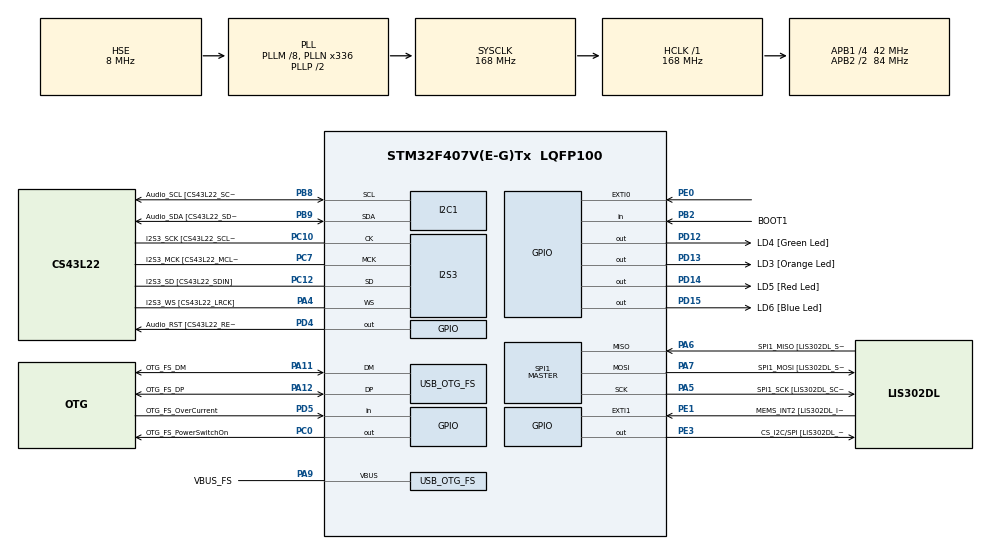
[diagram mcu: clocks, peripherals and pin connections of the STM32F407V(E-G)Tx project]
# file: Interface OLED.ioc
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I2C1.I2C_Mode=I2C_Fast
I2S3.AudioFreq-Half_Duplex_Master=I2S_AUDIOFREQ_96K
I2S3.ErrorAudioFreq=-2.34 %
I2S3.ErrorAudioFreq-Half_Duplex_Master=0.8 %
I2S3.FullDuplexMode=I2S_FULLDUPLEXMODE_DISABLE
I2S3.Instance=SPI$Index
I2S3.RealAudioFreq=93.75 KHz
I2S3.RealAudioFreq-Half_Duplex_Master=96.774 KHz
I2S3.VirtualMode=I2S_MODE_MASTER
Mcu.Family=STM32F4
Mcu.Name=STM32F407V(E-G)Tx
Mcu.Package=LQFP100
NVIC.OTG_FS_IRQn=true\:0\:0\:false\:false\:true\:true\:true\:true
NVIC.PriorityGroup=NVIC_PRIORITYGROUP_0
PA10.GPIO_Label=OTG_FS_ID
PA10.GPIO_Mode=GPIO_MODE_AF_PP
PA10.GPIO_PuPd=GPIO_NOPULL
PA10.GPIO_Speed=GPIO_SPEED_FREQ_LOW
PA10.Signal=USB_OTG_FS_ID
PA11.GPIO_Label=OTG_FS_DM
PA11.GPIO_Mode=GPIO_MODE_AF_PP
PA11.GPIO_PuPd=GPIO_NOPULL
PA11.GPIO_Speed=GPIO_SPEED_FREQ_LOW
PA11.Mode=Host_Only
PA11.Signal=USB_OTG_FS_DM
PA12.GPIO_Label=OTG_FS_DP
PA12.GPIO_Mode=GPIO_MODE_AF_PP
PA12.GPIO_PuPd=GPIO_NOPULL
PA12.GPIO_Speed=GPIO_SPEED_FREQ_LOW
PA12.Mode=Host_Only
PA12.Signal=USB_OTG_FS_DP
PA13.GPIO_Label=SWDIO
PA13.Mode=Serial_Wire
PA13.Signal=SYS_JTMS-SWDIO
PA14.GPIO_Label=SWCLK
PA14.Mode=Serial_Wire
PA14.Signal=SYS_JTCK-SWCLK
PA4.GPIO_Label=I2S3_WS [CS43L22_LRCK]
PA4.GPIO_Mode=GPIO_MODE_AF_PP
PA4.GPIO_PuPd=GPIO_NOPULL
PA4.GPIO_Speed=GPIO_SPEED_FREQ_LOW
PA4.Mode=Half_Duplex_Master
PA4.Signal=I2S3_WS
PA5.GPIO_Label=SPI1_SCK [LIS302DL_SCL/SPC]
PA5.GPIO_Mode=GPIO_MODE_AF_PP
PA5.GPIO_PuPd=GPIO_NOPULL
PA5.GPIO_Speed=GPIO_SPEED_FREQ_LOW
PA5.Mode=Full_Duplex_Master
PA5.Signal=SPI1_SCK
PA6.GPIO_Label=SPI1_MISO [LIS302DL_SDO]
PA6.GPIO_Mode=GPIO_MODE_AF_PP
PA6.GPIO_PuPd=GPIO_NOPULL
PA6.GPIO_Speed=GPIO_SPEED_FREQ_LOW
PA6.Mode=Full_Duplex_Master
PA6.Signal=SPI1_MISO
PA7.GPIO_Label=SPI1_MOSI [LIS302DL_SDA/SDI/SDO]
PA7.GPIO_Mode=GPIO_MODE_AF_PP
PA7.GPIO_PuPd=GPIO_NOPULL
PA7.GPIO_Speed=GPIO_SPEED_FREQ_LOW
PA7.Mode=Full_Duplex_Master
PA7.Signal=SPI1_MOSI
PA9.GPIO_Label=VBUS_FS
PA9.GPIO_Mode=GPIO_MODE_INPUT
PA9.GPIO_PuPd=GPIO_NOPULL
PA9.Mode=Activate_VBUS
PA9.Signal=USB_OTG_FS_VBUS
PB10.GPIO_Label=CLK_IN [MP45DT02_CLK]
PB10.GPIO_Mode=GPIO_MODE_AF_PP
PB10.GPIO_PuPd=GPIO_NOPULL
PB10.GPIO_Speed=GPIO_SPEED_FREQ_LOW
PB10.Signal=I2S2_CK
PB2.GPIO_Label=BOOT1
PB2.GPIO_Mode=GPIO_MODE_INPUT
PB2.GPIO_PuPd=GPIO_NOPULL
PB2.Signal=GPIO_Input
PB3.GPIO_Label=SWO
PB3.Signal=SYS_JTDO-SWO
PB8.GPIO_Label=Audio_SCL [CS43L22_SCL]
PB8.GPIO_Mode=GPIO_MODE_AF_OD
PB8.GPIO_Pu=GPIO_PULLUP
PB8.GPIO_Speed=GPIO_SPEED_FREQ_LOW
PB8.Mode=I2C
PB8.Signal=I2C1_SCL
PB9.GPIO_Label=Audio_SDA [CS43L22_SDA]
PB9.GPIO_Mode=GPIO_MODE_AF_OD
PB9.GPIO_Pu=GPIO_PULLUP
PB9.GPIO_PuPd=GPIO_NOPULL
PB9.GPIO_Speed=GPIO_SPEED_FREQ_LOW
PB9.Mode=I2C
PB9.Signal=I2C1_SDA
PC0.GPIO_Label=OTG_FS_PowerSwitchOn
PC0.GPIO_PuPd=GPIO_NOPULL
PC0.GPIO_Speed=GPIO_SPEED_FREQ_LOW
PC0.PinState=GPIO_PIN_SET
PC0.Signal=GPIO_Output
PC10.GPIO_Label=I2S3_SCK [CS43L22_SCLK]
PC10.GPIO_Mode=GPIO_MODE_AF_PP
PC10.GPIO_PuPd=GPIO_NOPULL
PC10.GPIO_Speed=GPIO_SPEED_FREQ_LOW
PC10.Mode=Half_Duplex_Master
PC10.Signal=I2S3_CK
PC12.GPIO_Label=I2S3_SD [CS43L22_SDIN]
PC12.GPIO_Mode=GPIO_MODE_AF_PP
PC12.GPIO_PuPd=GPIO_NOPULL
PC12.GPIO_Speed=GPIO_SPEED_FREQ_LOW
PC12.Mode=Half_Duplex_Master
PC12.Signal=I2S3_SD
PC14-OSC32_IN.GPIO_Label=PC14-OSC32_IN
PC14-OSC32_IN.Mode=LSE-External-Oscillator
PC14-OSC32_IN.Signal=RCC_OSC32_IN
PC15-OSC32_OUT.GPIO_Label=PC15-OSC32_OUT
PC15-OSC32_OUT.Mode=LSE-External-Oscillator
PC15-OSC32_OUT.Signal=RCC_OSC32_OUT
PC3.GPIO_Label=PDM_OUT [MP45DT02_DOUT]
PC3.GPIO_Mode=GPIO_MODE_AF_PP
PC3.GPIO_PuPd=GPIO_NOPULL
PC3.GPIO_Speed=GPIO_SPEED_FREQ_LOW
PC3.Signal=I2S2_SD
PC7.GPIO_Label=I2S3_MCK [CS43L22_MCLK]
PC7.GPIO_Mode=GPIO_MODE_AF_PP
PC7.GPIO_PuPd=GPIO_NOPULL
PC7.GPIO_Speed=GPIO_SPEED_FREQ_LOW
PC7.Mode=Master_Clock_Activated
PC7.Signal=I2S3_MCK
PD12.GPIO_Label=LD4 [Green Led]
PD12.GPIO_PuPd=GPIO_NOPULL
PD12.GPIO_Speed=GPIO_SPEED_FREQ_LOW
PD12.Signal=GPIO_Output
PD13.GPIO_Label=LD3 [Orange Led]
PD13.GPIO_PuPd=GPIO_NOPULL
PD13.GPIO_Speed=GPIO_SPEED_FREQ_LOW
PD13.Signal=GPIO_Output
PD14.GPIO_Label=LD5 [Red Led]
PD14.GPIO_PuPd=GPIO_NOPULL
PD14.GPIO_Speed=GPIO_SPEED_FREQ_LOW
PD14.Signal=GPIO_Output
PD15.GPIO_Label=LD6 [Blue Led]
PD15.GPIO_PuPd=GPIO_NOPULL
PD15.GPIO_Speed=GPIO_SPEED_FREQ_LOW
PD15.Signal=GPIO_Output
PD4.GPIO_Label=Audio_RST [CS43L22_RESET]
PD4.GPIO_PuPd=GPIO_NOPULL
PD4.GPIO_Speed=GPIO_SPEED_FREQ_LOW
PD4.Signal=GPIO_Output
PD5.GPIO_Label=OTG_FS_OverCurrent
PD5.GPIO_Mode=GPIO_MODE_INPUT
PD5.GPIO_PuPd=GPIO_NOPULL
PD5.Signal=GPIO_Input
PE0.Signal=GPXTI0
PE1.GPIO_Label=MEMS_INT2 [LIS302DL_INT2]
PE1.GPIO_ModeDefaultEXTI=GPIO_MODE_EVT_RISING
PE1.GPIO_PuPd=GPIO_NOPULL
PE1.Signal=GPXTI1
PE3.GPIO_Label=CS_I2C/SPI [LIS302DL_CS_I2C/SPI]
PE3.GPIO_PuPd=GPIO_NOPULL
PE3.GPIO_Speed=GPIO_SPEED_FREQ_LOW
PE3.Signal=GPIO_Output
PH0-OSC_IN.GPIO_Label=PH0-OSC_IN
PH0-OSC_IN.Mode=HSE-External-Oscillator
PH0-OSC_IN.Signal=RCC_OSC_IN
PH1-OSC_OUT.GPIO_Label=PH1-OSC_OUT
PH1-OSC_OUT.Mode=HSE-External-Oscillator
PH1-OSC_OUT.Signal=RCC_OSC_OUT
ProjectManager.HeapSize=0x200
ProjectManager.StackSize=0x400
ProjectManager.TargetToolchain=STM32CubeIDE
RCC.48MHZClocksFreq_Value=48000000
RCC.AHBFreq_Value=168000000
RCC.APB1CLKDivider=RCC_HCLK_DIV4
RCC.APB1Freq_Value=42000000
RCC.APB1TimFreq_Value=84000000
RCC.APB2CLKDivider=RCC_HCLK_DIV2
RCC.APB2Freq_Value=84000000
RCC.APB2TimFreq_Value=168000000
RCC.CortexFreq_Value=168000000
RCC.HCLKFreq_Value=168000000
RCC.HSE_VALUE=8000000
RCC.HSI_VALUE=16000000
RCC.PLLM=8
RCC.PLLN=336
RCC.PLLQ=7
RCC.SYSCLKFreq_VALUE=168000000
RCC.SYSCLKSource=RCC_SYSCLKSOURCE_PLLCLK
RCC.VCOOutputFreq_Value=336000000
SPI1.BaudRatePrescaler-Full_Duplex_Master=SPI_BAUDRATEPRESCALER_2
SPI1.CalculateBaudRate-Full_Duplex_Master=42.0 MBits/s
SPI1.Direction=SPI_DIRECTION_2LINES
SPI1.Mode=SPI_MODE_MASTER
SPI1.Mode-Full_Duplex_Master=SPI_MODE_MASTER
SPI1.VirtualType=VM_MASTER
USB_HOST.BSP.number=1
USB_HOST.USBH_HandleTypeDef-CDC_FS=hUsbHostFS
USB_HOST.VirtualModeFS=Cdc
USB_HOST0.BSP.STBoard=false
USB_HOST0.BSP.api=Unknown
USB_HOST0.BSP.instance=PC0
USB_HOST0.BSP.ip=GPIO
USB_HOST0.BSP.mode=Output
USB_HOST0.BSP.name=Drive_VBUS_FS
USB_HOST0.BSP.solution=PC0
USB_OTG_FS.VirtualMode=Host_Only
USB_OTG_FS.phy_itface=HCD_PHY_EMBEDDED
VP_USB_HOST_VS_USB_HOST_CDC_FS.Mode=CDC_FS
board=STM32F407G-DISC1

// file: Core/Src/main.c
/* USER CODE BEGIN Header */
/**
  ******************************************************************************
  * @file           : main.c
  * @brief          : Main program body
  ******************************************************************************
  * @attention
  *
  * Copyright (c) 2025 STMicroelectronics.
  * All rights reserved.
  *
  * This software is licensed under terms that can be found in the LICENSE file
  * in the root directory of this software component.
  * If no LICENSE file comes with this software, it is provided AS-IS.
  *
  ******************************************************************************
  */
/* USER CODE END Header */
#include "main.h"
#include "usb_host.h"

/* USER CODE BEGIN Includes */
#include <stdio.h>
#include "ssd1306.h"
#include "ssd1306_tests.h"
#include "ssd1306_fonts.h"
/* USER CODE END Includes */

I2C_HandleTypeDef hi2c1;

I2S_HandleTypeDef hi2s3;

SPI_HandleTypeDef hspi1;

/* USER CODE BEGIN PV */
volatile int encoder_counter = 0;
/* USER CODE END PV */

void SystemClock_Config(void);
static void MX_GPIO_Init(void);
static void MX_I2C1_Init(void);
static void MX_I2S3_Init(void);
static void MX_SPI1_Init(void);
void MX_USB_HOST_Process(void);

int main(void)
{

  /* MCU Configuration--------------------------------------------------------*/

  /* Reset of all peripherals, Initializes the Flash interface and the Systick. */
  HAL_Init();

  /* Configure the system clock */
  SystemClock_Config();

  /* Initialize all configured peripherals */
  MX_GPIO_Init();
  MX_I2C1_Init();
  MX_I2S3_Init();
  MX_SPI1_Init();
  MX_USB_HOST_Init();
  /* USER CODE BEGIN 2 */
  ssd1306_Init();

  /* USER CODE END 2 */

  /* Infinite loop */
  while (1)
  {
    MX_USB_HOST_Process();

    /* USER CODE BEGIN 3 */
    char buffer[20];

    ssd1306_Fill(Black);

    sprintf(buffer, "Count: %d", encoder_counter);
    ssd1306_SetCursor(0, 0);
    ssd1306_WriteString(buffer, Font_11x18, White);
    ssd1306_UpdateScreen();

    HAL_Delay(100);  // small delay

  }
  /* USER CODE END 3 */
}

void SystemClock_Config(void)
{
  RCC_OscInitTypeDef RCC_OscInitStruct = {0};
  RCC_ClkInitTypeDef RCC_ClkInitStruct = {0};

  /** Configure the main internal regulator output voltage
  */
  __HAL_RCC_PWR_CLK_ENABLE();
  __HAL_PWR_VOLTAGESCALING_CONFIG(PWR_REGULATOR_VOLTAGE_SCALE1);

  /** Initializes the RCC Oscillators according to the specified parameters
  * in the RCC_OscInitTypeDef structure.
  */
  RCC_OscInitStruct.OscillatorType = RCC_OSCILLATORTYPE_HSE;
  RCC_OscInitStruct.HSEState = RCC_HSE_ON;
  RCC_OscInitStruct.PLL.PLLState = RCC_PLL_ON;
  RCC_OscInitStruct.PLL.PLLSource = RCC_PLLSOURCE_HSE;
  RCC_OscInitStruct.PLL.PLLM = 8;
  RCC_OscInitStruct.PLL.PLLN = 336;
  RCC_OscInitStruct.PLL.PLLP = RCC_PLLP_DIV2;
  RCC_OscInitStruct.PLL.PLLQ = 7;
  if (HAL_RCC_OscConfig(&RCC_OscInitStruct) != HAL_OK)
  {
    Error_Handler();
  }

  /** Initializes the CPU, AHB and APB buses clocks
  */
  RCC_ClkInitStruct.ClockType = RCC_CLOCKTYPE_HCLK|RCC_CLOCKTYPE_SYSCLK
                              |RCC_CLOCKTYPE_PCLK1|RCC_CLOCKTYPE_PCLK2;
  RCC_ClkInitStruct.SYSCLKSource = RCC_SYSCLKSOURCE_PLLCLK;
  RCC_ClkInitStruct.AHBCLKDivider = RCC_SYSCLK_DIV1;
  RCC_ClkInitStruct.APB1CLKDivider = RCC_HCLK_DIV4;
  RCC_ClkInitStruct.APB2CLKDivider = RCC_HCLK_DIV2;

  if (HAL_RCC_ClockConfig(&RCC_ClkInitStruct, FLASH_LATENCY_5) != HAL_OK)
  {
    Error_Handler();
  }
}

static void MX_I2C1_Init(void)
{

  hi2c1.Instance = I2C1;
  hi2c1.Init.ClockSpeed = 400000;
  hi2c1.Init.DutyCycle = I2C_DUTYCYCLE_2;
  hi2c1.Init.OwnAddress1 = 0;
  hi2c1.Init.AddressingMode = I2C_ADDRESSINGMODE_7BIT;
  hi2c1.Init.DualAddressMode = I2C_DUALADDRESS_DISABLE;
  hi2c1.Init.OwnAddress2 = 0;
  hi2c1.Init.GeneralCallMode = I2C_GENERALCALL_DISABLE;
  hi2c1.Init.NoStretchMode = I2C_NOSTRETCH_DISABLE;
  if (HAL_I2C_Init(&hi2c1) != HAL_OK)
  {
    Error_Handler();
  }

}

static void MX_I2S3_Init(void)
{

  hi2s3.Instance = SPI3;
  hi2s3.Init.Mode = I2S_MODE_MASTER_TX;
  hi2s3.Init.Standard = I2S_STANDARD_PHILIPS;
  hi2s3.Init.DataFormat = I2S_DATAFORMAT_16B;
  hi2s3.Init.MCLKOutput = I2S_MCLKOUTPUT_ENABLE;
  hi2s3.Init.AudioFreq = I2S_AUDIOFREQ_96K;
  hi2s3.Init.CPOL = I2S_CPOL_LOW;
  hi2s3.Init.ClockSource = I2S_CLOCK_PLL;
  hi2s3.Init.FullDuplexMode = I2S_FULLDUPLEXMODE_DISABLE;
  if (HAL_I2S_Init(&hi2s3) != HAL_OK)
  {
    Error_Handler();
  }

}

static void MX_SPI1_Init(void)
{

  /* SPI1 parameter configuration*/
  hspi1.Instance = SPI1;
  hspi1.Init.Mode = SPI_MODE_MASTER;
  hspi1.Init.Direction = SPI_DIRECTION_2LINES;
  hspi1.Init.DataSize = SPI_DATASIZE_8BIT;
  hspi1.Init.CLKPolarity = SPI_POLARITY_LOW;
  hspi1.Init.CLKPhase = SPI_PHASE_1EDGE;
  hspi1.Init.NSS = SPI_NSS_SOFT;
  hspi1.Init.BaudRatePrescaler = SPI_BAUDRATEPRESCALER_2;
  hspi1.Init.FirstBit = SPI_FIRSTBIT_MSB;
  hspi1.Init.TIMode = SPI_TIMODE_DISABLE;
  hspi1.Init.CRCCalculation = SPI_CRCCALCULATION_DISABLE;
  hspi1.Init.CRCPolynomial = 10;
  if (HAL_SPI_Init(&hspi1) != HAL_OK)
  {
    Error_Handler();
  }

}

static void MX_GPIO_Init(void)
{
  GPIO_InitTypeDef GPIO_InitStruct = {0};

  /* GPIO Ports Clock Enable */
  __HAL_RCC_GPIOE_CLK_ENABLE();
  __HAL_RCC_GPIOC_CLK_ENABLE();
  __HAL_RCC_GPIOH_CLK_ENABLE();
  __HAL_RCC_GPIOA_CLK_ENABLE();
  __HAL_RCC_GPIOB_CLK_ENABLE();
  __HAL_RCC_GPIOD_CLK_ENABLE();

  /*Configure GPIO pin Output Level */
  HAL_GPIO_WritePin(CS_I2C_SPI_GPIO_Port, CS_I2C_SPI_Pin, GPIO_PIN_RESET);

  /*Configure GPIO pin Output Level */
  HAL_GPIO_WritePin(OTG_FS_PowerSwitchOn_GPIO_Port, OTG_FS_PowerSwitchOn_Pin, GPIO_PIN_SET);

  /*Configure GPIO pin Output Level */
  HAL_GPIO_WritePin(GPIOD, LD4_Pin|LD3_Pin|LD5_Pin|LD6_Pin
                          |Audio_RST_Pin, GPIO_PIN_RESET);

  /*Configure GPIO pin : CS_I2C_SPI_Pin */
  GPIO_InitStruct.Pin = CS_I2C_SPI_Pin;
  GPIO_InitStruct.Mode = GPIO_MODE_OUTPUT_PP;
  GPIO_InitStruct.Pull = GPIO_NOPULL;
  GPIO_InitStruct.Speed = GPIO_SPEED_FREQ_LOW;
  HAL_GPIO_Init(CS_I2C_SPI_GPIO_Port, &GPIO_InitStruct);

  /*Configure GPIO pin : OTG_FS_PowerSwitchOn_Pin */
  GPIO_InitStruct.Pin = OTG_FS_PowerSwitchOn_Pin;
  GPIO_InitStruct.Mode = GPIO_MODE_OUTPUT_PP;
  GPIO_InitStruct.Pull = GPIO_NOPULL;
  GPIO_InitStruct.Speed = GPIO_SPEED_FREQ_LOW;
  HAL_GPIO_Init(OTG_FS_PowerSwitchOn_GPIO_Port, &GPIO_InitStruct);

  /*Configure GPIO pin : PDM_OUT_Pin */
  GPIO_InitStruct.Pin = PDM_OUT_Pin;
  GPIO_InitStruct.Mode = GPIO_MODE_AF_PP;
  GPIO_InitStruct.Pull = GPIO_NOPULL;
  GPIO_InitStruct.Speed = GPIO_SPEED_FREQ_LOW;
  GPIO_InitStruct.Alternate = GPIO_AF5_SPI2;
  HAL_GPIO_Init(PDM_OUT_GPIO_Port, &GPIO_InitStruct);

  /*Configure GPIO pin : BOOT1_Pin */
  GPIO_InitStruct.Pin = BOOT1_Pin;
  GPIO_InitStruct.Mode = GPIO_MODE_INPUT;
  GPIO_InitStruct.Pull = GPIO_NOPULL;
  HAL_GPIO_Init(BOOT1_GPIO_Port, &GPIO_InitStruct);

  /*Configure GPIO pin : CLK_IN_Pin */
  GPIO_InitStruct.Pin = CLK_IN_Pin;
  GPIO_InitStruct.Mode = GPIO_MODE_AF_PP;
  GPIO_InitStruct.Pull = GPIO_NOPULL;
  GPIO_InitStruct.Speed = GPIO_SPEED_FREQ_LOW;
  GPIO_InitStruct.Alternate = GPIO_AF5_SPI2;
  HAL_GPIO_Init(CLK_IN_GPIO_Port, &GPIO_InitStruct);

  /*Configure GPIO pins : LD4_Pin LD3_Pin LD5_Pin LD6_Pin
                           Audio_RST_Pin */
  GPIO_InitStruct.Pin = LD4_Pin|LD3_Pin|LD5_Pin|LD6_Pin
                          |Audio_RST_Pin;
  GPIO_InitStruct.Mode = GPIO_MODE_OUTPUT_PP;
  GPIO_InitStruct.Pull = GPIO_NOPULL;
  GPIO_InitStruct.Speed = GPIO_SPEED_FREQ_LOW;
  HAL_GPIO_Init(GPIOD, &GPIO_InitStruct);

  /*Configure GPIO pin : OTG_FS_OverCurrent_Pin */
  GPIO_InitStruct.Pin = OTG_FS_OverCurrent_Pin;
  GPIO_InitStruct.Mode = GPIO_MODE_INPUT;
  GPIO_InitStruct.Pull = GPIO_NOPULL;
  HAL_GPIO_Init(OTG_FS_OverCurrent_GPIO_Port, &GPIO_InitStruct);

  /*Configure GPIO pin : PE0 */
  GPIO_InitStruct.Pin = GPIO_PIN_0;
  GPIO_InitStruct.Mode = GPIO_MODE_IT_RISING;
  GPIO_InitStruct.Pull = GPIO_NOPULL;
  HAL_GPIO_Init(GPIOE, &GPIO_InitStruct);

  /*Configure GPIO pin : MEMS_INT2_Pin */
  GPIO_InitStruct.Pin = MEMS_INT2_Pin;
  GPIO_InitStruct.Mode = GPIO_MODE_EVT_RISING;
  GPIO_InitStruct.Pull = GPIO_NOPULL;
  HAL_GPIO_Init(MEMS_INT2_GPIO_Port, &GPIO_InitStruct);

}

/* USER CODE BEGIN 4 */
void HAL_GPIO_EXTI_Callback(uint16_t GPIO_Pin)
{
    if (GPIO_Pin == GPIO_PIN_0)  // PE0 or PB0
    {
        // Check direction using second pin (you decide which is A and which is B)
        if (HAL_GPIO_ReadPin(GPIOB, GPIO_PIN_1) == GPIO_PIN_SET) {
            encoder_counter++;  // Clockwise
        } else {
            encoder_counter--;  // Counter-clockwise
        }
    }
}

/* USER CODE END 4 */

void Error_Handler(void)
{
  __disable_irq();
  while (1)
  {
  }
}
